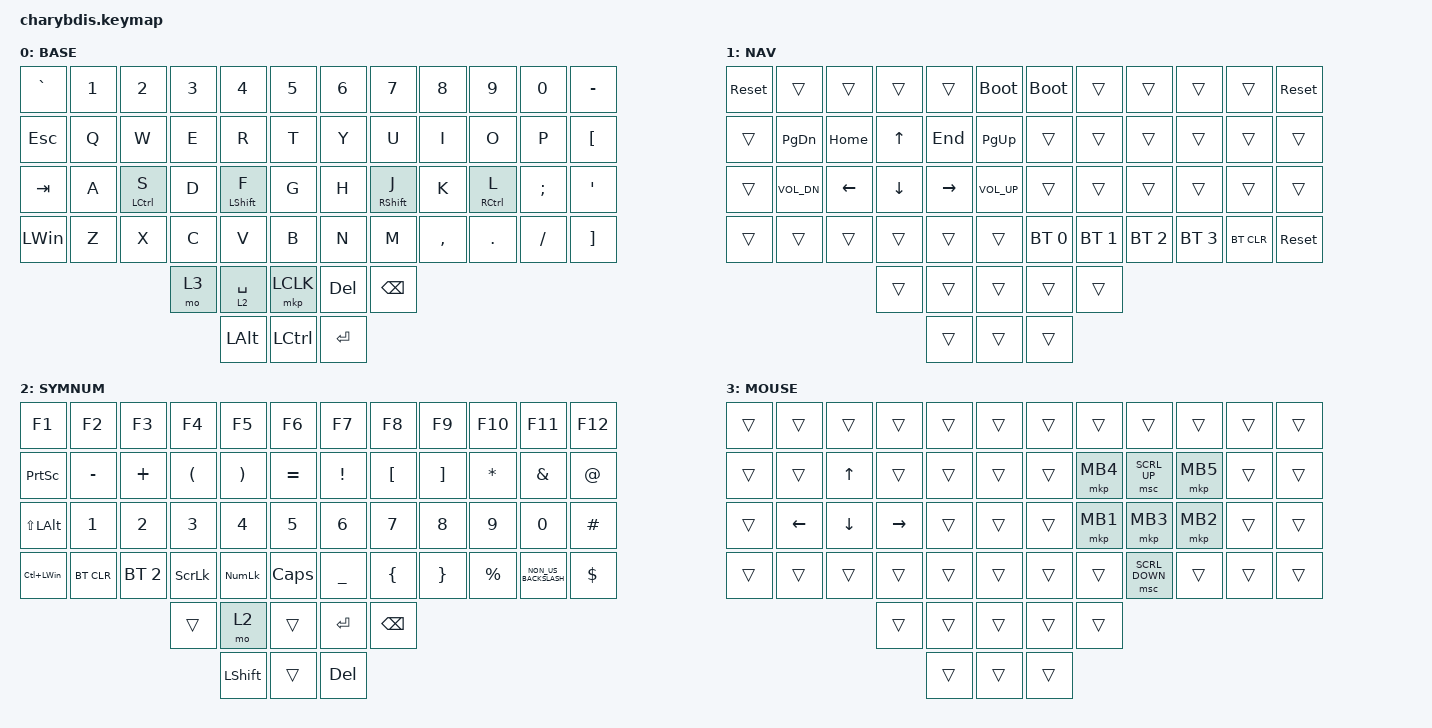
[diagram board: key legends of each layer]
#include <dt-bindings/zmk/mouse.h>
#include <behaviors.dtsi>
#include <dt-bindings/zmk/bt.h>
#include <dt-bindings/zmk/keys.h>
#include <dt-bindings/zmk/pointing.h>

/ {
    combos {
        compatible = "zmk,combos";

        ckp {
            bindings = <&mkp MCLK>;
            key-positions = <54 50>;
            layers = <0>;
        };
    };

    behaviors {
        homerow: homerow {
            compatible = "zmk,behavior-hold-tap";
            label = "HOMEROW";
            bindings = <&kp>, <&kp>;

            #binding-cells = <2>;
            tapping-term-ms = <150>;
            quick-tap-ms = <0>;
            flavor = "tap-preferred";
        };
    };

    keymap {
        compatible = "zmk,keymap";

        BASE {
            bindings = <
&kp GRAVE     &kp NUMBER_1  &kp NUMBER_2             &kp NUMBER_3  &kp NUMBER_4           &kp NUMBER_5    &kp NUMBER_6  &kp NUMBER_7            &kp NUMBER_8  &kp NUMBER_9      &kp NUMBER_0  &kp MINUS
&kp ESC       &kp Q         &kp W                    &kp E         &kp R                  &kp T           &kp Y         &kp U                   &kp I         &kp O             &kp P         &kp LBKT
&kp TAB       &kp A         &homerow LEFT_CONTROL S  &kp D         &homerow LEFT_SHIFT F  &kp G           &kp H         &homerow RIGHT_SHIFT J  &kp K         &homerow RCTRL L  &kp SEMI      &kp SQT
&kp LEFT_WIN  &kp Z         &kp X                    &kp C         &kp V                  &kp B           &kp N         &kp M                   &kp COMMA     &kp DOT           &kp FSLH      &kp RIGHT_BRACKET
                                                     &mo 3         &lt 2 SPACE            &mkp LCLK       &kp DELETE    &kp BACKSPACE
                                                                   &kp LALT               &kp LCTRL       &kp RETURN
            >;
        };

        NAV {
            bindings = <
&sys_reset  &trans         &trans    &trans    &trans     &bootloader        &bootloader   &trans        &trans        &trans        &trans      &sys_reset
&trans      &kp PAGE_DOWN  &kp HOME  &kp UP    &kp END    &kp PAGE_UP        &trans        &trans        &trans        &trans        &trans      &trans
&trans      &kp C_VOL_DN   &kp LEFT  &kp DOWN  &kp RIGHT  &kp C_VOLUME_UP    &trans        &trans        &trans        &trans        &trans      &trans
&trans      &trans         &trans    &trans    &trans     &trans             &bt BT_SEL 0  &bt BT_SEL 1  &bt BT_SEL 2  &bt BT_SEL 3  &bt BT_CLR  &sys_reset
                                     &trans    &trans     &trans             &trans        &trans
                                               &trans     &trans             &trans
            >;
        };

        SYMNUM {
            bindings = <
&kp F1            &kp F2        &kp F3        &kp F4                &kp F5                 &kp F6          &kp F7           &kp F8            &kp F9             &kp F10       &kp F11               &kp F12
&kp PRINTSCREEN   &kp MINUS     &kp PLUS      &kp LEFT_PARENTHESIS  &kp RIGHT_PARENTHESIS  &kp EQUAL       &kp EXCLAMATION  &kp LEFT_BRACKET  &kp RIGHT_BRACKET  &kp ASTERISK  &kp AMPERSAND         &kp AT
&kp LS(LEFT_ALT)  &kp NUMBER_1  &kp NUMBER_2  &kp NUMBER_3          &kp NUMBER_4           &kp N5          &kp NUMBER_6     &kp N7            &kp N8             &kp N9        &kp N0                &kp HASH
&kp LC(LEFT_WIN)  &bt BT_CLR    &bt BT_SEL 2  &kp SCROLLLOCK        &kp KP_NUMLOCK         &kp CAPSLOCK    &kp UNDERSCORE   &kp LEFT_BRACE    &kp RIGHT_BRACE    &kp PERCENT   &kp NON_US_BACKSLASH  &kp DOLLAR
                                              &trans                &mo 2                  &trans          &kp ENTER        &kp BSPC
                                                                    &kp LEFT_SHIFT         &trans          &kp DEL
            >;
        };

        MOUSE {
            bindings = <
&trans  &trans    &trans    &trans     &trans  &trans    &trans  &trans    &trans          &trans    &trans  &trans
&trans  &trans    &kp UP    &trans     &trans  &trans    &trans  &mkp MB4  &msc SCRL_UP    &mkp MB5  &trans  &trans
&trans  &kp LEFT  &kp DOWN  &kp RIGHT  &trans  &trans    &trans  &mkp MB1  &mkp MB3        &mkp MB2  &trans  &trans
&trans  &trans    &trans    &trans     &trans  &trans    &trans  &trans    &msc SCRL_DOWN  &trans    &trans  &trans
                            &trans     &trans  &trans    &trans  &trans
                                       &trans  &trans    &trans
            >;
        };
    };
};
